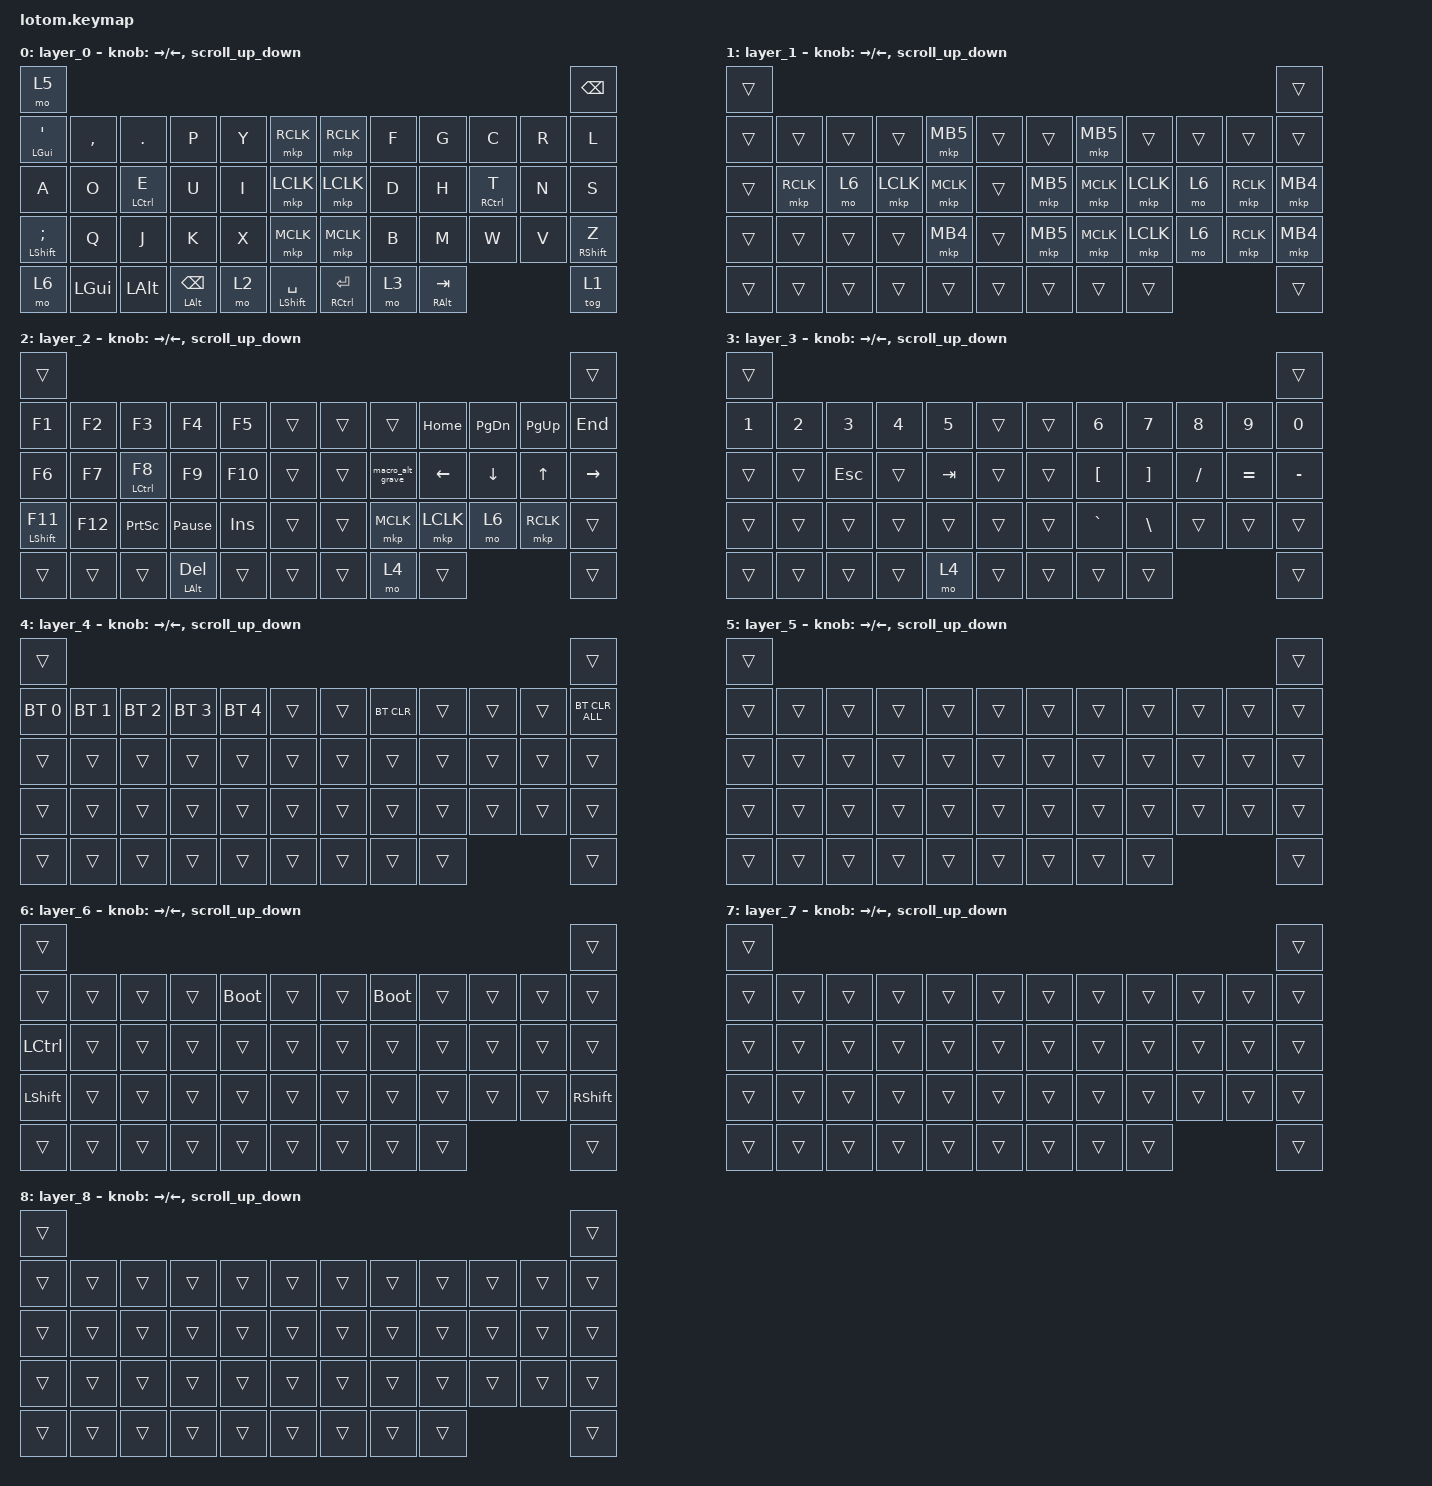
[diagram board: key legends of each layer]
// LoTom キーボード設定ファイル
// ZMK（Zephyr Mechanical Keyboards）フレームワークを使用した設定

// 必要なヘッダーファイルをインクルード
#include <behaviors.dtsi>
#include <dt-bindings/zmk/bt.h>
#include <dt-bindings/zmk/keys.h>
#include <dt-bindings/zmk/pointing.h>

// ポインティングデバイスのスクロール感度を設定（デフォルト値：80）
#define ZMK_POINTING_DEFAULT_SCRL_VAL 80

/ {
    // カスタム動作（ビヘイビア）の定義
    behaviors {
        // エンコーダーのスクロール動作を定義：上下回転でマウスホイール操作
        scroll_up_down: behavior_sensor_rotate_mouse_wheel_up_down {
            compatible = "zmk,behavior-sensor-rotate";
            label = "ENCODER_MSC_DOWN_UP";
            #sensor-binding-cells = <0>;
            bindings = <&msc SCRL_UP>, <&msc SCRL_DOWN>;
            tap-ms = <20>;
        };

        // エンコーダーのタブスライド動作を定義：左右回転でウィンドウ切り替え（Mac：Cmd+Alt+矢印キー）
        tab_slide: behavior_sensor_rotate_tab_slide {
            compatible = "zmk,behavior-sensor-rotate";
            label = "ENCODER_TAB_SLIDE";
            #sensor-binding-cells = <0>;
            bindings = <&kp LA(LG(RIGHT_ARROW))>, <&kp LA(LG(LEFT_ARROW))>;
            tap-ms = <20>;
        };

        // デフォルトのMod-Tap(&mt)の挙動を上書きし、QMK風の快適な設定に変更します
        mt: mod_tap {
            compatible = "zmk,behavior-hold-tap";
            #binding-cells = <2>;
            
            // --- ここからがカスタマイズ項目です ---

            // タップとホールドを認識する時間。200msに設定。
            tapping-term-ms = <200>;
            
            // 'tap-preferred'フレーバーを選択。
            // これにより、高速でキーを連続入力（ローリング）した際に、
            // ホールド（モディファイア）が誤爆するのを防ぎます。
            // QMKの`IGNORE_MOD_TAP_INTERRUPT`に近い挙動です。
            flavor = "tap-preferred"; 

            // (オプション) この時間内の素早い連続タップは、強制的にタップとして扱います。
            // これにより、スペースキーやエンターキーの連続タップがより確実になります。
            quick-tap-ms = <150>;

            // --- ここまでがカスタマイズ項目です ---

            bindings = <&kp>, <&kp>;
        };
    };

    // 日本語入力のオンオフで、ChromeでAltキーが暴発するための対策マクロ
    macros {
        macro_alt_grave: macro_alt_grave {
            compatible = "zmk,behavior-macro";
            #binding-cells = <0>;
            wait-ms = <5>;
            tap-ms = <5>;
            bindings =
                <&macro_press &kp LALT>
                , <&macro_tap &kp GRAVE>
                , <&macro_release &kp LALT>
            ;
        };
    };

    // キーマップレイアウト定義
    keymap {
        compatible = "zmk,keymap";

        layer_0 {
            bindings = <
// &kp ESCAPE                                                                                                                                                                          &kp BACKSPACE
// &kp Q           &kp W         &kp E             &kp R           &kp T        &mo 6                      &kp BACKSLASH      &kp Y            &kp U        &kp I        &kp O         &kp P
// &kp A           &kp S         &kp D             &kp F           &kp G        &mo 6                      &kp BACKSLASH      &kp H            &kp J        &kp K        &kp L         &kp MINUS
// &kp Z           &kp X         &kp C             &kp V           &kp B        &kp LEFT_BRACKET           &kp RIGHT_BRACKET  &kp N            &kp M        &kp COMMA    &kp DOT       &lt 2 SLASH
// &kp LCTRL       &kp LEFT_ALT  &kp LEFT_COMMAND  &kp LEFT_SHIFT  &lt 4 SPACE  &kp LG(SPACE)              &kp ENTER          &lt 3 BACKSPACE                            &lt 2 ESCAPE  &kp RIGHT_BRACKET

   &mo 5                                                                                                                                                                          &kp BACKSPACE
   &mt LGUI QUOT   &kp COMMA     &kp DOT           &kp P           &kp Y        &mkp RCLK                  &mkp RCLK          &kp F            &kp G        &kp C        &kp R         &kp L
   &kp A           &kp O         &mt LCTRL E       &kp U           &kp I        &mkp LCLK                  &mkp LCLK          &kp D            &kp H        &mt RCTRL T  &kp N         &kp S
   &mt LSHIFT SEMI &kp Q         &kp J             &kp K           &kp X        &mkp MCLK                  &mkp MCLK          &kp B            &kp M        &kp W        &kp V         &mt RSHIFT Z
   &mo 6           &kp LGUI      &kp LALT          &mt LALT BSPC   &mo 2        &mt LSHIFT SPACE           &mt RCTRL ENTER    &mo 3            &mt RALT TAB                            &tog 1

            >;

            sensor-bindings = <
                &inc_dec_kp RIGHT_ARROW LEFT_ARROW
                &scroll_up_down
            >;
        };

        // レイヤー1: マウス操作レイアウト
        layer_1 {
            bindings = <
// &trans                                                                                                                                           &trans
// &trans     &trans        &trans            &trans          &trans      &trans             &trans   &trans      &trans      &trans     &trans     &trans
// &trans     &trans        &trans            &trans          &trans      &trans             &trans   &trans      &mkp MB1    &mkp MB3   &mkp MB2   &trans
// &trans     &trans        &trans            &trans          &trans      &trans             &trans   &trans      &trans      &trans     &trans     &trans
// &kp LCTRL  &kp LEFT_ALT  &kp LEFT_COMMAND  &kp LEFT_SHIFT  &trans      &trans             &trans   &mo 3                              &trans     &trans

   &trans                                                                                                                                           &trans
   &trans     &trans        &trans            &trans          &mkp MB5    &trans             &trans   &mkp MB5     &trans     &trans     &trans     &trans
   &trans     &mkp RCLK     &mo 6             &mkp LCLK       &mkp MCLK   &trans             &mkp MB5 &mkp MCLK    &mkp LCLK  &mo 6      &mkp RCLK  &mkp MB4
   &trans     &trans        &trans            &trans          &mkp MB4    &trans             &mkp MB5 &mkp MCLK    &mkp LCLK  &mo 6      &mkp RCLK  &mkp MB4
   &trans     &trans        &trans            &trans          &trans      &trans             &trans   &trans                             &trans     &trans

            >;

            sensor-bindings = <
                &inc_dec_kp RIGHT_ARROW LEFT_ARROW
                &scroll_up_down
            >;
        };

        // レイヤー2: ファンクションキー、矢印キーレイアウト、マウスキー
        layer_2 {
            bindings = <
// &trans                                                                                                                                  &trans
// &kp ESCAPE     &trans  &trans    &trans          &trans  &trans             &trans  &trans            &trans     &trans     &trans      &trans
// &trans         &trans  &trans    &trans          &trans  &trans             &trans  &trans            &trans     &trans     &trans      &trans
// &kp F12        &trans  &trans    &trans          &trans  &trans             &trans  &trans            &trans     &trans     &trans      &tran
// &kp F12        &trans  &trans    &trans          &trans  &trans             &trans  &trans                                  &trans      &trans

   &trans                                                                                                                                  &trans
   &kp F1         &kp F2  &kp F3        &kp F4          &kp F5  &trans             &trans  &trans            &kp HOME   &kp PG_DN  &kp PG_UP   &kp END
   &kp F6         &kp F7  &mt LCTRL F8  &kp F9          &kp F10 &trans             &trans  &macro_alt_grave  &kp LEFT   &kp DOWN   &kp UP      &kp RIGHT    
   &mt LSHIFT F11 &kp F12 &kp PSCRN     &kp PAUSE_BREAK &kp INS &trans             &trans  &mkp MCLK         &mkp LCLK  &mo 6      &mkp RCLK   &trans
   &trans         &trans  &trans        &mt LALT DEL    &trans  &trans             &trans  &mo 4                                   &trans      &trans       

            >;

            sensor-bindings = <
                &inc_dec_kp RIGHT_ARROW LEFT_ARROW
                &scroll_up_down
            >;
        };

        // レイヤー3: 矢印キーとナビゲーション操作レイアウト
        layer_3 {
            bindings = <
// &trans                                                                                                                                                                                           &trans
// &kp GRAVE  &kp LC(LS(TAB))         &kp LG(RIGHT)   &kp NUMBER_9             &kp NUMBER_0        &trans              &trans  &trans    &kp RC(LEFT_ARROW)  &kp UP_ARROW      &kp RC(RIGHT_ARROW)  &kp LG(P)
// &kp TAB    &kp LA(LG(LEFT_ARROW))  &kp LG(LEFT)    &kp LG(LA(RIGHT_ARROW))  &kp LEFT_BRACKET    &trans              &trans  &trans    &kp LEFT_ARROW      &kp DOWN_ARROW    &kp RIGHT_ARROW      &kp LG(K)
// &kp LCMD   &kp LG(LS(LEFT_ARROW))  &trans          &kp LG(LS(RIGHT_ARROW))  &kp RIGHT_BRACKET   &trans              &trans  &trans    &trans              &kp LC(UP_ARROW)  &trans               &kp LG(L)
// &trans     &trans                  &trans          &trans                   &trans              &trans              &trans  &trans                                          &trans               &trans
    
   &trans                                                                                                                                                                                           &trans
   &kp N1     &kp N2                  &kp N3          &kp N4                   &kp N5              &trans              &trans  &kp N6    &kp N7              &kp N8            &kp N9               &kp N0
   &trans     &trans                  &kp ESC         &trans                   &kp TAB             &trans              &trans  &kp LBKT  &kp RBKT            &kp SLASH         &kp EQUAL            &kp MINUS
   &trans     &trans                  &trans          &trans                   &trans              &trans              &trans  &kp GRAVE &kp BACKSLASH       &trans            &trans               &trans
   &trans     &trans                  &trans          &trans                   &mo 4               &trans              &trans  &trans                                          &trans               &trans

            >;

            sensor-bindings = <
                &inc_dec_kp RIGHT_ARROW LEFT_ARROW
                &scroll_up_down
            >;
        };

        // レイヤー4: Bluetooth接続管理レイアウト
        layer_4 {
            bindings = <
// &trans                                                                                                                                                                  &trans
// &kp GRAVE                &kp NUMBER_7  &kp NUMBER_8  &kp LG(LS(NUMBER_4))  &kp PLUS      &trans      &trans  &kp BACKSLASH    &kp NUMBER_7  &kp NUMBER_8  &kp NUMBER_9  &kp SEMICOLON
// &kp SLASH                &kp NUMBER_4  &kp NUMBER_5  &kp NUMBER_6          &kp ASTERISK  &trans      &trans  &kp EXCLAMATION  &kp NUMBER_4  &kp NUMBER_5  &kp NUMBER_6  &kp SQT
// &mt LEFT_SHIFT NUMBER_0  &kp NUMBER_1  &kp NUMBER_2  &kp NUMBER_3          &kp PERIOD    &trans      &trans  &kp NUMBER_0     &kp NUMBER_1  &kp NUMBER_2  &kp NUMBER_3  &kp EQUAL
// &trans                   &trans        &trans        &trans                &trans        &trans      &trans  &kp LEFT_SHIFT                               &trans        &trans

   &trans                                                                                                                          &trans
   &bt BT_SEL 0  &bt BT_SEL 1  &bt BT_SEL 2 &bt BT_SEL 3  &bt BT_SEL 4 &trans          &trans  &bt BT_CLR  &trans  &trans  &trans  &bt BT_CLR_ALL
   &trans        &trans        &trans       &trans        &trans       &trans          &trans  &trans      &trans  &trans  &trans  &trans
   &trans        &trans        &trans       &trans        &trans       &trans          &trans  &trans      &trans  &trans  &trans  &trans
   &trans        &trans        &trans       &trans        &trans       &trans          &trans  &trans                      &trans  &trans
            >;

            sensor-bindings = <
                &inc_dec_kp RIGHT_ARROW LEFT_ARROW
                &scroll_up_down
            >;
        };

        // レイヤー5: 未使用
        layer_5 {
            bindings = <
// &trans                                                                                       &trans
// &trans  &trans  &trans  &trans  &trans  &trans      &trans  &kp F1  &kp F2  &kp F3  &kp F4  &kp F5
// &trans  &trans  &trans  &trans  &trans  &trans      &kp F13  &kp F6  &kp F7  &kp F8  &kp F9  &kp F10
// &trans  &trans  &trans  &trans  &trans  &trans      &trans   &trans  &trans  &trans  &trans  &kp F11
// &trans  &trans  &trans  &trans  &trans  &trans      &trans   &trans                  &trans  &kp F12

   &trans                                                                                      &trans
   &trans  &trans  &trans  &trans  &trans  &trans      &trans  &trans  &trans  &trans  &trans  &trans
   &trans  &trans  &trans  &trans  &trans  &trans      &trans  &trans  &trans  &trans  &trans  &trans
   &trans  &trans  &trans  &trans  &trans  &trans      &trans  &trans  &trans  &trans  &trans  &trans
   &trans  &trans  &trans  &trans  &trans  &trans      &trans  &trans                  &trans  &trans
            >;

            sensor-bindings = <
                &inc_dec_kp RIGHT_ARROW LEFT_ARROW
                &scroll_up_down
            >;
        };

        // レイヤー6: スクロール操作レイアウト
        layer_6 {
            bindings = <
// &trans                                                                                                                                      &trans
// &kp LG(Q)      &kp LC(W)  &trans     &trans     &trans  &trans      &trans  &bt BT_PRV  &bt BT_NXT  &bt BT_SEL 2  &bt BT_SEL 3  &bt BT_SEL 4
// &kp LG(LS(Z))  &trans     &kp LC(C)  &trans     &trans  &trans      &trans  &trans      &trans      &trans        &trans        &trans
// &kp LG(Z)      &kp LG(X)  &kp LG(C)  &kp LG(V)  &trans  &trans      &trans  &trans      &trans      &trans        &trans        &trans
// &trans         &trans     &trans     &trans     &trans  &trans      &trans  &trans                                &trans        &trans

   &trans                                                                                                    &trans
   &trans     &trans  &trans  &trans  &bootloader &trans        &trans  &bootloader  &trans  &trans  &trans  &trans
   &kp LCTRL  &trans  &trans  &trans  &trans      &trans        &trans  &trans       &trans  &trans  &trans  &trans
   &kp LSHIFT &trans  &trans  &trans  &trans      &trans        &trans  &trans       &trans  &trans  &trans  &kp RSHIFT
   &trans     &trans  &trans  &trans  &trans      &trans        &trans  &trans                       &trans  &trans


            >;

            sensor-bindings = <
                &inc_dec_kp RIGHT_ARROW LEFT_ARROW
                &scroll_up_down
            >;
        };

        // レイヤー7: 未使用
        layer_7 {
            bindings = <
   &trans                                                                                      &trans
   &trans  &trans  &trans  &trans  &trans  &trans      &trans  &trans  &trans  &trans  &trans  &trans
   &trans  &trans  &trans  &trans  &trans  &trans      &trans  &trans  &trans  &trans  &trans  &trans
   &trans  &trans  &trans  &trans  &trans  &trans      &trans  &trans  &trans  &trans  &trans  &trans
   &trans  &trans  &trans  &trans  &trans  &trans      &trans  &trans                  &trans  &trans
            >;

            sensor-bindings = <
                &inc_dec_kp RIGHT_ARROW LEFT_ARROW
                &scroll_up_down
            >;
        };

        // レイヤー8:
        layer_8 {
            bindings = <
   &trans                                                                                      &trans
   &trans  &trans  &trans  &trans  &trans  &trans      &trans  &trans  &trans  &trans  &trans  &trans
   &trans  &trans  &trans  &trans  &trans  &trans      &trans  &trans  &trans  &trans  &trans  &trans
   &trans  &trans  &trans  &trans  &trans  &trans      &trans  &trans  &trans  &trans  &trans  &trans
   &trans  &trans  &trans  &trans  &trans  &trans      &trans  &trans                  &trans  &trans
            >;

            sensor-bindings = <
                &inc_dec_kp RIGHT_ARROW LEFT_ARROW
                &scroll_up_down
            >;
        };
    };
};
